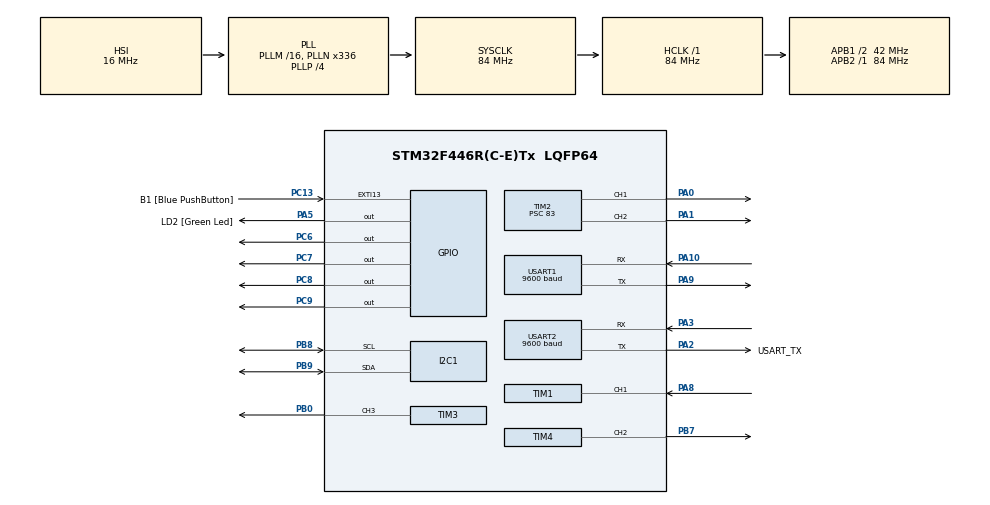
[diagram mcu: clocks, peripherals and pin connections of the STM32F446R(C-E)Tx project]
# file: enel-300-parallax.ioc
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Mcu.Family=STM32F4
Mcu.Name=STM32F446R(C-E)Tx
Mcu.Package=LQFP64
NVIC.PriorityGroup=NVIC_PRIORITYGROUP_0
NVIC.TIM1_CC_IRQn=true\:0\:0\:false\:false\:true\:true\:true\:true
NVIC.USART1_IRQn=true\:0\:0\:false\:false\:true\:true\:true\:true
NVIC.USART2_IRQn=true\:0\:0\:false\:false\:true\:true\:true\:true
PA0-WKUP.Signal=S_TIM2_CH1_ETR
PA1.Signal=S_TIM2_CH2
PA10.Mode=Asynchronous
PA10.Signal=USART1_RX
PA13.GPIO_Label=TMS
PA13.Mode=Serial_Wire
PA13.Signal=SYS_JTMS-SWDIO
PA14.GPIO_Label=TCK
PA14.Mode=Serial_Wire
PA14.Signal=SYS_JTCK-SWCLK
PA2.GPIO_Label=USART_TX
PA2.Mode=Asynchronous
PA2.Signal=USART2_TX
PA3.Mode=Asynchronous
PA3.Signal=USART2_RX
PA5.GPIO_Label=LD2 [Green Led]
PA5.Signal=GPIO_Output
PA8.Signal=S_TIM1_CH1
PA9.Mode=Asynchronous
PA9.Signal=USART1_TX
PB0.Signal=S_TIM3_CH3
PB3.GPIO_Label=SWO
PB3.Signal=SYS_JTDO-SWO
PB7.Signal=S_TIM4_CH2
PB8.Mode=I2C
PB8.Signal=I2C1_SCL
PB9.Mode=I2C
PB9.Signal=I2C1_SDA
PC13.GPIO_Label=B1 [Blue PushButton]
PC13.GPIO_ModeDefaultEXTI=GPIO_MODE_IT_FALLING
PC13.Signal=GPXTI13
PC14-OSC32_IN.Mode=LSE-External-Oscillator
PC14-OSC32_IN.Signal=RCC_OSC32_IN
PC15-OSC32_OUT.Mode=LSE-External-Oscillator
PC15-OSC32_OUT.Signal=RCC_OSC32_OUT
PC6.Signal=GPIO_Output
PC7.Signal=GPIO_Output
PC8.Signal=GPIO_Output
PC9.Signal=GPIO_Output
PH0-OSC_IN.Mode=HSE-External-Oscillator
PH0-OSC_IN.Signal=RCC_OSC_IN
PH1-OSC_OUT.Mode=HSE-External-Oscillator
PH1-OSC_OUT.Signal=RCC_OSC_OUT
ProjectManager.HeapSize=0x200
ProjectManager.StackSize=0x400
ProjectManager.TargetToolchain=STM32CubeIDE
RCC.48MHZClocksFreq_Value=84000000
RCC.AHBFreq_Value=84000000
RCC.APB1CLKDivider=RCC_HCLK_DIV2
RCC.APB1Freq_Value=42000000
RCC.APB1TimFreq_Value=84000000
RCC.APB2Freq_Value=84000000
RCC.APB2TimFreq_Value=84000000
RCC.CortexFreq_Value=84000000
RCC.FLatency-AdvancedSettings=FLASH_LATENCY_2
RCC.HCLKFreq_Value=84000000
RCC.HSE_VALUE=8000000
RCC.HSI_VALUE=16000000
RCC.PLLN=336
RCC.PLLP=RCC_PLLP_DIV4
RCC.SYSCLKFreq_VALUE=84000000
RCC.SYSCLKSource=RCC_SYSCLKSOURCE_PLLCLK
RCC.USBFreq_Value=168000000
RCC.VCOOutputFreq_Value=336000000
SH.S_TIM1_CH1.0=TIM1_CH1,Input_Capture1_from_TI1
SH.S_TIM2_CH1_ETR.0=TIM2_CH1,PWM Generation1 CH1
SH.S_TIM2_CH2.0=TIM2_CH2,PWM Generation2 CH2
SH.S_TIM3_CH3.0=TIM3_CH3,PWM Generation3 CH3
SH.S_TIM4_CH2.0=TIM4_CH2,PWM Generation2 CH2
TIM1.Channel-Input_Capture1_from_TI1=TIM_CHANNEL_1
TIM1.Prescaler=84-1
TIM2.Channel-PWM\ Generation1\ CH1=TIM_CHANNEL_1
TIM2.Channel-PWM\ Generation2\ CH2=TIM_CHANNEL_2
TIM2.Period=999
TIM2.Prescaler=83
TIM3.Channel-PWM\ Generation3\ CH3=TIM_CHANNEL_3
TIM3.Period=99
TIM3.Prescaler=83
TIM3.Pulse-PWM\ Generation3\ CH3=0
TIM4.Channel-PWM\ Generation2\ CH2=TIM_CHANNEL_2
TIM4.Period=19999
TIM4.Prescaler=83
TIM4.Pulse-PWM\ Generation2\ CH2=1500
USART1.BaudRate=9600
USART1.VirtualMode=VM_ASYNC
USART2.BaudRate=9600
USART2.VirtualMode=VM_ASYNC
VP_TIM2_VS_ClockSourceINT.Mode=Internal
VP_TIM3_VS_ClockSourceINT.Mode=Internal
VP_TIM4_VS_ClockSourceINT.Mode=Internal
board=NUCLEO-F446RE

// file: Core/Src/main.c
/* USER CODE BEGIN Header */
/**
  ******************************************************************************
  * @file           : main.c
  * @brief          : Main program body
  ******************************************************************************
  * @attention
  *
  * Copyright (c) 2026 STMicroelectronics.
  * All rights reserved.
  *
  * This software is licensed under terms that can be found in the LICENSE file
  * in the root directory of this software component.
  * If no LICENSE file comes with this software, it is provided AS-IS.
  *
  ******************************************************************************
  */
/* USER CODE END Header */
#include "main.h"
#include <liquidcrystal_i2c.h>
#include <stdio.h>
#include <string.h>

I2C_HandleTypeDef hi2c1;

TIM_HandleTypeDef htim1;
TIM_HandleTypeDef htim2;
TIM_HandleTypeDef htim3;
TIM_HandleTypeDef htim4;

UART_HandleTypeDef huart1;
UART_HandleTypeDef huart2;

/* USER CODE BEGIN PV */

uint32_t IC_Val1 = 0;
uint32_t IC_Val2 = 0;
uint8_t  Is_First_Captured = 0;
uint32_t Difference = 0;
volatile float Distance = 0.0f;

char btRxLine[64];
uint8_t btRxIndex = 0;

int throttle_raw = 2048;
int steering_raw = 2048;

uint8_t led_state = 0;
uint8_t last_b1_state = 0;

uint32_t lastControlPacketMs = 0;
uint32_t lastDistanceSendMs = 0;
uint32_t lastTriggerMs = 0;

#define ULTRASONIC_TRIGGER_PERIOD_MS 80U
#define DISTANCE_TX_PERIOD_MS        300U
#define CONTROL_FAILSAFE_MS          800U

/* USER CODE END PV */

void SystemClock_Config(void);
static void MX_GPIO_Init(void);
static void MX_USART2_UART_Init(void);
static void MX_TIM2_Init(void);
static void MX_TIM3_Init(void);
static void MX_TIM4_Init(void);
static void MX_I2C1_Init(void);
static void MX_TIM1_Init(void);
static void MX_USART1_UART_Init(void);
/* USER CODE BEGIN PFP */
void HCSR04_Trigger(void);
uint16_t clamp_u16(int val, int min, int max);
int map_adc_to_motor_percent(int adc);
uint16_t map_adc_to_servo_pulse(int adc);
void Motor_SetPercent(int percent);
void Servo_SetPulse(uint16_t pulse);
void Process_ControlPacket(char *line);
void Send_DistancePacket(void);
void Process_BT_Receive(void);
/* USER CODE END PFP */

int main(void)
{

  /* MCU Configuration--------------------------------------------------------*/

  /* Reset of all peripherals, Initializes the Flash interface and the Systick. */
  HAL_Init();

  /* Configure the system clock */
  SystemClock_Config();

  /* Initialize all configured peripherals */
  MX_GPIO_Init();
  MX_USART2_UART_Init();
  MX_TIM2_Init();
  MX_TIM3_Init();
  MX_TIM4_Init();
  MX_I2C1_Init();
  MX_TIM1_Init();
  MX_USART1_UART_Init();
  /* USER CODE BEGIN 2 */

  /* UI startup */
  lcd_init();
  HAL_Delay(100);

  lcd_put_cur(0, 0);
  lcd_send_string("Distance:");

  /* Start sensor capture + PWM outputs */
  HAL_TIM_Base_Start(&htim1);
  HAL_TIM_IC_Start_IT(&htim1, TIM_CHANNEL_1);

  HAL_TIM_PWM_Start(&htim3, TIM_CHANNEL_3);   // motor PWM
  HAL_TIM_PWM_Start(&htim4, TIM_CHANNEL_2);   // servo PWM

  Servo_SetPulse(1500);                       // center steering
  Motor_SetPercent(0);                        // motor off

  lastControlPacketMs = HAL_GetTick();
  lastDistanceSendMs = HAL_GetTick();
  lastTriggerMs = HAL_GetTick();

  uint32_t start = HAL_GetTick();
  while ((HAL_GetTick() - start) < 300)
  {
      Process_BT_Receive();
  }

  printf("Car ready\r\n");

  /* USER CODE END 2 */

  /* Infinite loop */
  while (1)
  {

    /* USER CODE BEGIN 3 */
    /* Handle incoming control commands from the remote controller. */
    Process_BT_Receive();

    uint32_t now = HAL_GetTick();

    /* Periodically trigger the HC-SR04 pulse. */
    if ((now - lastTriggerMs) >= ULTRASONIC_TRIGGER_PERIOD_MS)
    {
        lastTriggerMs = now;
        HCSR04_Trigger();
    }

    /* Periodically publish distance over Bluetooth. */
    if ((now - lastDistanceSendMs) >= DISTANCE_TX_PERIOD_MS)
    {
        lastDistanceSendMs = now;
        Send_DistancePacket();
    }

    /* Failsafe: stop if control packets are stale. */
    if ((now - lastControlPacketMs) > CONTROL_FAILSAFE_MS)
    {
        Motor_SetPercent(0);
        Servo_SetPulse(1500);
    }

  }
  /* USER CODE END 3 */
}

void SystemClock_Config(void)
{
  RCC_OscInitTypeDef RCC_OscInitStruct = {0};
  RCC_ClkInitTypeDef RCC_ClkInitStruct = {0};

  /** Configure the main internal regulator output voltage
  */
  __HAL_RCC_PWR_CLK_ENABLE();
  __HAL_PWR_VOLTAGESCALING_CONFIG(PWR_REGULATOR_VOLTAGE_SCALE3);

  /** Initializes the RCC Oscillators according to the specified parameters
  * in the RCC_OscInitTypeDef structure.
  */
  RCC_OscInitStruct.OscillatorType = RCC_OSCILLATORTYPE_HSI;
  RCC_OscInitStruct.HSIState = RCC_HSI_ON;
  RCC_OscInitStruct.HSICalibrationValue = RCC_HSICALIBRATION_DEFAULT;
  RCC_OscInitStruct.PLL.PLLState = RCC_PLL_ON;
  RCC_OscInitStruct.PLL.PLLSource = RCC_PLLSOURCE_HSI;
  RCC_OscInitStruct.PLL.PLLM = 16;
  RCC_OscInitStruct.PLL.PLLN = 336;
  RCC_OscInitStruct.PLL.PLLP = RCC_PLLP_DIV4;
  RCC_OscInitStruct.PLL.PLLQ = 2;
  RCC_OscInitStruct.PLL.PLLR = 2;
  if (HAL_RCC_OscConfig(&RCC_OscInitStruct) != HAL_OK)
  {
    Error_Handler();
  }

  /** Initializes the CPU, AHB and APB buses clocks
  */
  RCC_ClkInitStruct.ClockType = RCC_CLOCKTYPE_HCLK|RCC_CLOCKTYPE_SYSCLK
                              |RCC_CLOCKTYPE_PCLK1|RCC_CLOCKTYPE_PCLK2;
  RCC_ClkInitStruct.SYSCLKSource = RCC_SYSCLKSOURCE_PLLCLK;
  RCC_ClkInitStruct.AHBCLKDivider = RCC_SYSCLK_DIV1;
  RCC_ClkInitStruct.APB1CLKDivider = RCC_HCLK_DIV2;
  RCC_ClkInitStruct.APB2CLKDivider = RCC_HCLK_DIV1;

  if (HAL_RCC_ClockConfig(&RCC_ClkInitStruct, FLASH_LATENCY_2) != HAL_OK)
  {
    Error_Handler();
  }
}

static void MX_I2C1_Init(void)
{

  hi2c1.Instance = I2C1;
  hi2c1.Init.ClockSpeed = 100000;
  hi2c1.Init.DutyCycle = I2C_DUTYCYCLE_2;
  hi2c1.Init.OwnAddress1 = 0;
  hi2c1.Init.AddressingMode = I2C_ADDRESSINGMODE_7BIT;
  hi2c1.Init.DualAddressMode = I2C_DUALADDRESS_DISABLE;
  hi2c1.Init.OwnAddress2 = 0;
  hi2c1.Init.GeneralCallMode = I2C_GENERALCALL_DISABLE;
  hi2c1.Init.NoStretchMode = I2C_NOSTRETCH_DISABLE;
  if (HAL_I2C_Init(&hi2c1) != HAL_OK)
  {
    Error_Handler();
  }

}

static void MX_TIM1_Init(void)
{

  TIM_MasterConfigTypeDef sMasterConfig = {0};
  TIM_IC_InitTypeDef sConfigIC = {0};

  htim1.Instance = TIM1;
  htim1.Init.Prescaler = 84-1;
  htim1.Init.CounterMode = TIM_COUNTERMODE_UP;
  htim1.Init.Period = 65535;
  htim1.Init.ClockDivision = TIM_CLOCKDIVISION_DIV1;
  htim1.Init.RepetitionCounter = 0;
  htim1.Init.AutoReloadPreload = TIM_AUTORELOAD_PRELOAD_DISABLE;
  if (HAL_TIM_IC_Init(&htim1) != HAL_OK)
  {
    Error_Handler();
  }
  sMasterConfig.MasterOutputTrigger = TIM_TRGO_RESET;
  sMasterConfig.MasterSlaveMode = TIM_MASTERSLAVEMODE_DISABLE;
  if (HAL_TIMEx_MasterConfigSynchronization(&htim1, &sMasterConfig) != HAL_OK)
  {
    Error_Handler();
  }
  sConfigIC.ICPolarity = TIM_INPUTCHANNELPOLARITY_RISING;
  sConfigIC.ICSelection = TIM_ICSELECTION_DIRECTTI;
  sConfigIC.ICPrescaler = TIM_ICPSC_DIV1;
  sConfigIC.ICFilter = 0;
  if (HAL_TIM_IC_ConfigChannel(&htim1, &sConfigIC, TIM_CHANNEL_1) != HAL_OK)
  {
    Error_Handler();
  }

}

static void MX_TIM2_Init(void)
{

  TIM_ClockConfigTypeDef sClockSourceConfig = {0};
  TIM_MasterConfigTypeDef sMasterConfig = {0};
  TIM_OC_InitTypeDef sConfigOC = {0};

  htim2.Instance = TIM2;
  htim2.Init.Prescaler = 83;
  htim2.Init.CounterMode = TIM_COUNTERMODE_UP;
  htim2.Init.Period = 999;
  htim2.Init.ClockDivision = TIM_CLOCKDIVISION_DIV1;
  htim2.Init.AutoReloadPreload = TIM_AUTORELOAD_PRELOAD_DISABLE;
  if (HAL_TIM_Base_Init(&htim2) != HAL_OK)
  {
    Error_Handler();
  }
  sClockSourceConfig.ClockSource = TIM_CLOCKSOURCE_INTERNAL;
  if (HAL_TIM_ConfigClockSource(&htim2, &sClockSourceConfig) != HAL_OK)
  {
    Error_Handler();
  }
  if (HAL_TIM_PWM_Init(&htim2) != HAL_OK)
  {
    Error_Handler();
  }
  sMasterConfig.MasterOutputTrigger = TIM_TRGO_RESET;
  sMasterConfig.MasterSlaveMode = TIM_MASTERSLAVEMODE_DISABLE;
  if (HAL_TIMEx_MasterConfigSynchronization(&htim2, &sMasterConfig) != HAL_OK)
  {
    Error_Handler();
  }
  sConfigOC.OCMode = TIM_OCMODE_PWM1;
  sConfigOC.Pulse = 0;
  sConfigOC.OCPolarity = TIM_OCPOLARITY_HIGH;
  sConfigOC.OCFastMode = TIM_OCFAST_DISABLE;
  if (HAL_TIM_PWM_ConfigChannel(&htim2, &sConfigOC, TIM_CHANNEL_1) != HAL_OK)
  {
    Error_Handler();
  }
  if (HAL_TIM_PWM_ConfigChannel(&htim2, &sConfigOC, TIM_CHANNEL_2) != HAL_OK)
  {
    Error_Handler();
  }
  HAL_TIM_MspPostInit(&htim2);

}

static void MX_TIM3_Init(void)
{

  TIM_ClockConfigTypeDef sClockSourceConfig = {0};
  TIM_MasterConfigTypeDef sMasterConfig = {0};
  TIM_OC_InitTypeDef sConfigOC = {0};

  htim3.Instance = TIM3;
  htim3.Init.Prescaler = 83;
  htim3.Init.CounterMode = TIM_COUNTERMODE_UP;
  htim3.Init.Period = 99;
  htim3.Init.ClockDivision = TIM_CLOCKDIVISION_DIV1;
  htim3.Init.AutoReloadPreload = TIM_AUTORELOAD_PRELOAD_DISABLE;
  if (HAL_TIM_Base_Init(&htim3) != HAL_OK)
  {
    Error_Handler();
  }
  sClockSourceConfig.ClockSource = TIM_CLOCKSOURCE_INTERNAL;
  if (HAL_TIM_ConfigClockSource(&htim3, &sClockSourceConfig) != HAL_OK)
  {
    Error_Handler();
  }
  if (HAL_TIM_PWM_Init(&htim3) != HAL_OK)
  {
    Error_Handler();
  }
  sMasterConfig.MasterOutputTrigger = TIM_TRGO_RESET;
  sMasterConfig.MasterSlaveMode = TIM_MASTERSLAVEMODE_DISABLE;
  if (HAL_TIMEx_MasterConfigSynchronization(&htim3, &sMasterConfig) != HAL_OK)
  {
    Error_Handler();
  }
  sConfigOC.OCMode = TIM_OCMODE_PWM1;
  sConfigOC.Pulse = 0;
  sConfigOC.OCPolarity = TIM_OCPOLARITY_HIGH;
  sConfigOC.OCFastMode = TIM_OCFAST_DISABLE;
  if (HAL_TIM_PWM_ConfigChannel(&htim3, &sConfigOC, TIM_CHANNEL_3) != HAL_OK)
  {
    Error_Handler();
  }
  HAL_TIM_MspPostInit(&htim3);

}

static void MX_TIM4_Init(void)
{

  TIM_ClockConfigTypeDef sClockSourceConfig = {0};
  TIM_MasterConfigTypeDef sMasterConfig = {0};
  TIM_OC_InitTypeDef sConfigOC = {0};

  htim4.Instance = TIM4;
  htim4.Init.Prescaler = 83;
  htim4.Init.CounterMode = TIM_COUNTERMODE_UP;
  htim4.Init.Period = 19999;
  htim4.Init.ClockDivision = TIM_CLOCKDIVISION_DIV1;
  htim4.Init.AutoReloadPreload = TIM_AUTORELOAD_PRELOAD_DISABLE;
  if (HAL_TIM_Base_Init(&htim4) != HAL_OK)
  {
    Error_Handler();
  }
  sClockSourceConfig.ClockSource = TIM_CLOCKSOURCE_INTERNAL;
  if (HAL_TIM_ConfigClockSource(&htim4, &sClockSourceConfig) != HAL_OK)
  {
    Error_Handler();
  }
  if (HAL_TIM_PWM_Init(&htim4) != HAL_OK)
  {
    Error_Handler();
  }
  sMasterConfig.MasterOutputTrigger = TIM_TRGO_RESET;
  sMasterConfig.MasterSlaveMode = TIM_MASTERSLAVEMODE_DISABLE;
  if (HAL_TIMEx_MasterConfigSynchronization(&htim4, &sMasterConfig) != HAL_OK)
  {
    Error_Handler();
  }
  sConfigOC.OCMode = TIM_OCMODE_PWM1;
  sConfigOC.Pulse = 1500;
  sConfigOC.OCPolarity = TIM_OCPOLARITY_HIGH;
  sConfigOC.OCFastMode = TIM_OCFAST_DISABLE;
  if (HAL_TIM_PWM_ConfigChannel(&htim4, &sConfigOC, TIM_CHANNEL_2) != HAL_OK)
  {
    Error_Handler();
  }
  HAL_TIM_MspPostInit(&htim4);

}

static void MX_USART1_UART_Init(void)
{

  huart1.Instance = USART1;
  huart1.Init.BaudRate = 9600;
  huart1.Init.WordLength = UART_WORDLENGTH_8B;
  huart1.Init.StopBits = UART_STOPBITS_1;
  huart1.Init.Parity = UART_PARITY_NONE;
  huart1.Init.Mode = UART_MODE_TX_RX;
  huart1.Init.HwFlowCtl = UART_HWCONTROL_NONE;
  huart1.Init.OverSampling = UART_OVERSAMPLING_16;
  if (HAL_UART_Init(&huart1) != HAL_OK)
  {
    Error_Handler();
  }

}

static void MX_USART2_UART_Init(void)
{

  huart2.Instance = USART2;
  huart2.Init.BaudRate = 9600;
  huart2.Init.WordLength = UART_WORDLENGTH_8B;
  huart2.Init.StopBits = UART_STOPBITS_1;
  huart2.Init.Parity = UART_PARITY_NONE;
  huart2.Init.Mode = UART_MODE_TX_RX;
  huart2.Init.HwFlowCtl = UART_HWCONTROL_NONE;
  huart2.Init.OverSampling = UART_OVERSAMPLING_16;
  if (HAL_UART_Init(&huart2) != HAL_OK)
  {
    Error_Handler();
  }

}

static void MX_GPIO_Init(void)
{
  GPIO_InitTypeDef GPIO_InitStruct = {0};

  /* GPIO Ports Clock Enable */
  __HAL_RCC_GPIOC_CLK_ENABLE();
  __HAL_RCC_GPIOH_CLK_ENABLE();
  __HAL_RCC_GPIOA_CLK_ENABLE();
  __HAL_RCC_GPIOB_CLK_ENABLE();

  /*Configure GPIO pin Output Level */
  HAL_GPIO_WritePin(LD2_GPIO_Port, LD2_Pin, GPIO_PIN_RESET);

  /*Configure GPIO pin Output Level */
  HAL_GPIO_WritePin(GPIOC, GPIO_PIN_6|GPIO_PIN_7|GPIO_PIN_8|GPIO_PIN_9, GPIO_PIN_RESET);

  /*Configure GPIO pin : B1_Pin */
  GPIO_InitStruct.Pin = B1_Pin;
  GPIO_InitStruct.Mode = GPIO_MODE_IT_FALLING;
  GPIO_InitStruct.Pull = GPIO_NOPULL;
  HAL_GPIO_Init(B1_GPIO_Port, &GPIO_InitStruct);

  /*Configure GPIO pin : LD2_Pin */
  GPIO_InitStruct.Pin = LD2_Pin;
  GPIO_InitStruct.Mode = GPIO_MODE_OUTPUT_PP;
  GPIO_InitStruct.Pull = GPIO_NOPULL;
  GPIO_InitStruct.Speed = GPIO_SPEED_FREQ_LOW;
  HAL_GPIO_Init(LD2_GPIO_Port, &GPIO_InitStruct);

  /*Configure GPIO pins : PC6 PC7 PC8 PC9 */
  GPIO_InitStruct.Pin = GPIO_PIN_6|GPIO_PIN_7|GPIO_PIN_8|GPIO_PIN_9;
  GPIO_InitStruct.Mode = GPIO_MODE_OUTPUT_PP;
  GPIO_InitStruct.Pull = GPIO_NOPULL;
  GPIO_InitStruct.Speed = GPIO_SPEED_FREQ_LOW;
  HAL_GPIO_Init(GPIOC, &GPIO_InitStruct);

}

/* USER CODE BEGIN 4 */
int _write(int file, char *ptr, int len)
{
    HAL_UART_Transmit(&huart2, (uint8_t*)ptr, len, HAL_MAX_DELAY);
    return len;
}

uint16_t clamp_u16(int val, int min, int max)
{
    if (val < min) return (uint16_t)min;
    if (val > max) return (uint16_t)max;
    return (uint16_t)val;
}

int map_adc_to_motor_percent(int adc)
{
    int centered = adc - 2048;

    // small deadband for immediate response
    if (centered > -80 && centered < 80)
        return 0;

    if (centered > 0)
        return (centered * 50) / (4095 - 2048);   // capped to 50%
    else
        return (centered * 50) / 2048;
}

uint16_t map_adc_to_servo_pulse(int adc)
{
    const int adc_min = 0;
    const int adc_center = 2050;
    const int adc_max = 4095;
    const int pulse_min = 500;
    const int pulse_center = 1500;
    const int pulse_max = 2500;

    int centered = adc - adc_center;

    // Keep a small neutral zone to avoid jitter around center.
    if (centered > -60 && centered < 60)
        return pulse_center;

    int pulse;

    if (adc >= adc_center)
    {
        pulse = pulse_center + ((adc - adc_center) * (pulse_max - pulse_center)) / (adc_max - adc_center);
    }
    else
    {
        pulse = pulse_center - ((adc_center - adc) * (pulse_center - pulse_min)) / (adc_center - adc_min);
    }

    return clamp_u16(pulse, pulse_min, pulse_max);
}

void Motor_SetPercent(int percent)
{
    if (percent > 100) percent = 100;
    if (percent < -100) percent = -100;

    // limit max duty to 50%
    percent = percent / 1.54;

    if (percent >= 0)
    {
        HAL_GPIO_WritePin(GPIOC, GPIO_PIN_6, GPIO_PIN_SET);    // forward
        __HAL_TIM_SET_COMPARE(&htim3, TIM_CHANNEL_3, percent); // ARR = 99
    }
    else
    {
        HAL_GPIO_WritePin(GPIOC, GPIO_PIN_6, GPIO_PIN_RESET);  // reverse
        __HAL_TIM_SET_COMPARE(&htim3, TIM_CHANNEL_3, -percent);
    }
}

void Servo_SetPulse(uint16_t pulse)
{
    __HAL_TIM_SET_COMPARE(&htim4, TIM_CHANNEL_2, pulse);
}

void Process_ControlPacket(char *line)
{
    int t, s, b1_state = 0;

    if (sscanf(line, "C,%d,%d,%d", &t, &s, &b1_state) >= 2)
    {
        throttle_raw = t;
        steering_raw = s;

        int motor_percent = map_adc_to_motor_percent(throttle_raw);
        uint16_t servo_pulse = map_adc_to_servo_pulse(steering_raw);

        Motor_SetPercent(motor_percent);
        Servo_SetPulse(servo_pulse);

        // toggle on button press edge
        if (b1_state == 1 && last_b1_state == 0)
        {
            led_state = !led_state;
        }

        if (led_state)
        {
            HAL_GPIO_WritePin(GPIOC, GPIO_PIN_8 | GPIO_PIN_9, GPIO_PIN_SET);
        }
        else
        {
            HAL_GPIO_WritePin(GPIOC, GPIO_PIN_8 | GPIO_PIN_9, GPIO_PIN_RESET);
        }

        last_b1_state = b1_state;
        lastControlPacketMs = HAL_GetTick();
    }
}

void Send_DistancePacket(void)
{
    float dist = Distance;
    char tx[32];

    if (dist > 400.0f || dist <= 0.0f)
    {
        snprintf(tx, sizeof(tx), "D:TOO FAR\n");
    }
    else
    {
        int whole = (int)dist;
        int tenth = (int)((dist - (float)whole) * 10.0f + 0.5f);
        if (tenth >= 10)
        {
            whole += 1;
            tenth = 0;
        }
        snprintf(tx, sizeof(tx), "D:%d.%d\n", whole, tenth);
    }

    HAL_UART_Transmit(&huart1, (uint8_t*)tx, strlen(tx), 20);
    printf("CAR TX: %s", tx);
}

void Process_BT_Receive(void)
{
    uint8_t ch;

    while (HAL_UART_Receive(&huart1, &ch, 1, 0) == HAL_OK)
    {
        if (ch == '\n')
        {
            btRxLine[btRxIndex] = '\0';
            Process_ControlPacket(btRxLine);
            btRxIndex = 0;
        }
        else if (ch != '\r')
        {
            if (btRxIndex < sizeof(btRxLine) - 1)
            {
                btRxLine[btRxIndex++] = ch;
            }
            else
            {
                btRxIndex = 0;
            }
        }
    }
}

void HCSR04_Trigger(void)
{
    HAL_GPIO_WritePin(GPIOC, GPIO_PIN_7, GPIO_PIN_SET);

    uint32_t start_time = __HAL_TIM_GET_COUNTER(&htim1);
    while ((__HAL_TIM_GET_COUNTER(&htim1) - start_time) < 10);

    HAL_GPIO_WritePin(GPIOC, GPIO_PIN_7, GPIO_PIN_RESET);
}

void HAL_TIM_IC_CaptureCallback(TIM_HandleTypeDef *htim)
{
    if (htim->Instance == TIM1)
    {
        if (Is_First_Captured == 0)
        {
            IC_Val1 = HAL_TIM_ReadCapturedValue(htim, TIM_CHANNEL_1);
            Is_First_Captured = 1;
            __HAL_TIM_SET_CAPTUREPOLARITY(htim, TIM_CHANNEL_1, TIM_INPUTCHANNELPOLARITY_FALLING);
        }
        else
        {
            IC_Val2 = HAL_TIM_ReadCapturedValue(htim, TIM_CHANNEL_1);

            if (IC_Val2 > IC_Val1)
                Difference = IC_Val2 - IC_Val1;
            else
                Difference = (0xFFFF - IC_Val1) + IC_Val2;

            Distance = (Difference * 0.0343f) / 2.0f;

            Is_First_Captured = 0;
            __HAL_TIM_SET_CAPTUREPOLARITY(htim, TIM_CHANNEL_1, TIM_INPUTCHANNELPOLARITY_RISING);
        }
    }
}
/* USER CODE END 4 */

void Error_Handler(void)
{
  __disable_irq();
  while (1)
  {
  }
}
